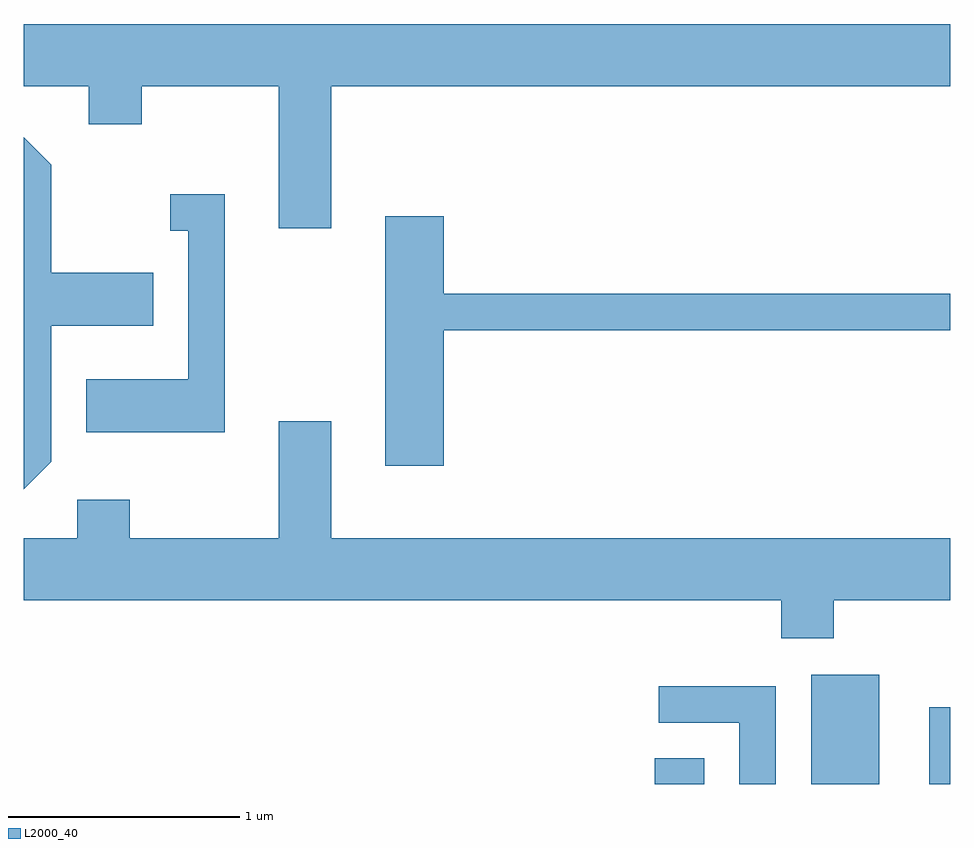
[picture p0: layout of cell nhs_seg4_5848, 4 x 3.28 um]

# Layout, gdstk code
import gdstk
lib = gdstk.Library(unit=1e-6, precision=1e-09)
def R(c, l, rs):  # rectangles x0, y0, x1, y1
    for r in rs: c.add(gdstk.rectangle(r[:2], r[2:], *l))
def P(c, l, *ps):  # polygons
    for p in ps: c.add(gdstk.Polygon(p, *l))
L2000_40 = (2000, 40)

nhs_seg4_5848 = lib.new_cell('nhs_seg4_5848')
R(nhs_seg4_5848, L2000_40, [(360.336,1253.982,360.549,1254.094), (361.011,1253.982,361.304,1254.454), (361.521,1253.982,361.611,1254.313)])
P(nhs_seg4_5848, L2000_40, [(358.939,1256.996),(361.611,1256.996),(361.611,1257.264),(357.611,1257.264),(357.611,1256.996),(357.891,1256.996),(357.891,1256.831),(358.119,1256.831),(358.119,1256.996),(358.711,1256.996),(358.711,1256.381),(358.939,1256.381)],
  [(357.729,1255.374),(357.729,1255.961),(358.169,1255.961),(358.169,1256.189),(357.729,1256.189),(357.729,1256.657),(357.611,1256.775),(357.611,1255.255)],
  [(358.479,1256.529),(358.243,1256.529),(358.243,1256.371),(358.321,1256.371),(358.321,1255.729),(357.881,1255.729),(357.881,1255.501),(358.479,1255.501)],
  [(359.424,1255.941),(361.611,1255.941),(361.611,1256.099),(359.424,1256.099),(359.424,1256.434),(359.171,1256.434),(359.171,1255.356),(359.424,1255.356)],
  [(361.109,1254.776),(361.611,1254.776),(361.611,1255.044),(358.939,1255.044),(358.939,1255.549),(358.711,1255.549),(358.711,1255.044),(358.069,1255.044),(358.069,1255.209),(357.841,1255.209),(357.841,1255.044),(357.611,1255.044),(357.611,1254.776),(360.881,1254.776),(360.881,1254.611),(361.109,1254.611)],
  [(360.859,1254.404),(360.353,1254.404),(360.353,1254.246),(360.701,1254.246),(360.701,1253.982),(360.859,1253.982)])

lib.write_gds('nhs_seg4_5848.gds')
